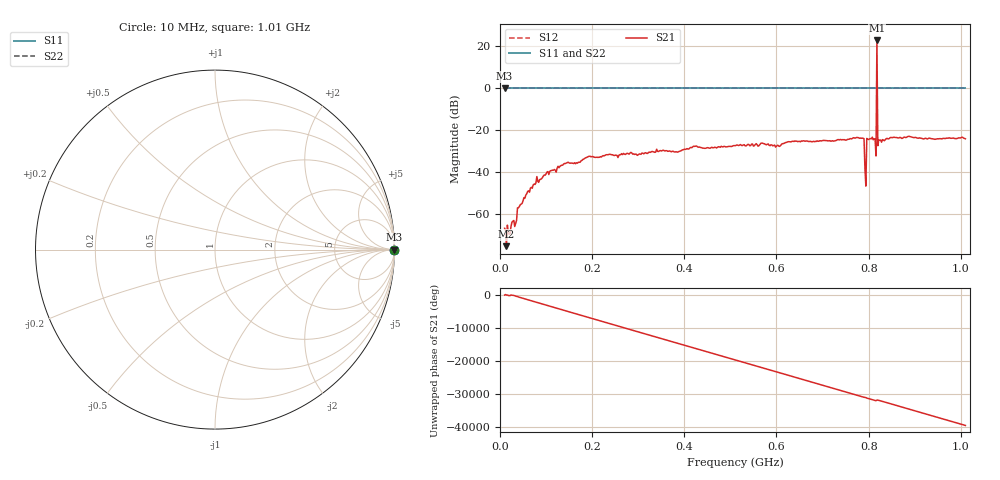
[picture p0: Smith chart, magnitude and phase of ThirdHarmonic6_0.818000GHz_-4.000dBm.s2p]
! 8/16/2025 3:11:54 AM
! C:\ANRITSUVNA\TEMP\TEMP.S2P
! CHANNEL.1
! TR.MEASUREMENT
! RAW.DATA
! RF.CORRECTION.OFF
! AVERAGING.OFF
! IF.BANDWIDTH: 5KHZ
! SWEEPTYPE:  FREQ.SWEEP(Linear)
! Reference Plane Port Info
! PORT:  PORT1  PORT2
! DISTANCE:  0  m  0  m
! TIME:  0  s  0  s
! PHASE.OFFSET:  0  deg.  0  deg.
! LOSS:  0  dB  0  dB
! REF.LOSS:  0  dB  0  dB
! REF.FREQ:  0  Hz  0  Hz
! Power Info
! POWER:  -20  dBm  -20  dBm
! EFF.POWER:  -20  dBm  -20  dBm
! SOURCE.ATTEN:  0  dB  0  dB
! TEST.ATTEN:  0  dB  0  dB
# GHZ S RI R 50.0
! FREQ.GHZ  S11RE  S11IM  S21RE  S21IM  S12RE  S12IM  S22RE  S22IM
!; PortSelection: Port_12
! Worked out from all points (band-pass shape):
!   501 points, 10 MHz to 1.01 GHz, reference 50 ohm
!   highest |S21| = 22.85 dB at 818 MHz (marker M1); lowest = -75.1 dB at 14 MHz (marker M2)
!   |S21| within 3 dB of the highest: 817.8909 MHz to 818.1197 MHz (228.7 kHz wide, 0.028 % of centre)
!   lowest |S11| = 0.0 dB at 10 MHz (marker M3)
!   |S11| at or under -10 dB: nowhere
!   |S22| runs from 0.0 to 0.0 dB; largest |S21 - S12| = 14
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0.01  1 0  -0.00011 -0.000455  1 0  1 0
0.014  1 0  -6.27e-05 -0.000164  1 0  1 0
0.018  1 0  -0.000213 0.000309  1 0  1 0
0.032  1 0  0.000487 0.000168  1 0  1 0
0.042  1 0  0.00109 -0.0011  1 0  1 0
0.076  1 0  0.00517 0.000141  1 0  1 0
0.142  1 0  -0.0149 -0.00673  1 0  1 0
0.178  1 0  -0.0187 -0.00498  1 0  1 0
0.344  1 0  0.0309 -0.00521  1 0  1 0
0.51  1 0  -0.0415 0.0123  1 0  1 0
0.678  1 0  -0.0189 -0.0503  1 0  1 0
0.786  1 0  -0.051 -0.041  1 0  1 0
0.79  1 0  0.0347 0.0532  1 0  1 0
0.796  1 0  -0.064 0.00708  1 0  1 0
0.8  1 0  0.0582 0.0169  1 0  1 0
0.812  1 0  -0.0184 -0.0604  1 0  1 0
0.814  1 0  -0.0622 0.00816  1 0  1 0
0.818  1 0  -0.8254 -13.86  1 0  1 0
0.822  1 0  -0.0526 -0.0284  1 0  1 0
0.824  1 0  -0.0379 0.0442  1 0  1 0
0.844  1 0  0.0379 0.0506  1 0  1 0
1.01  1 0  -0.0565 -0.0282  1 0  1 0
